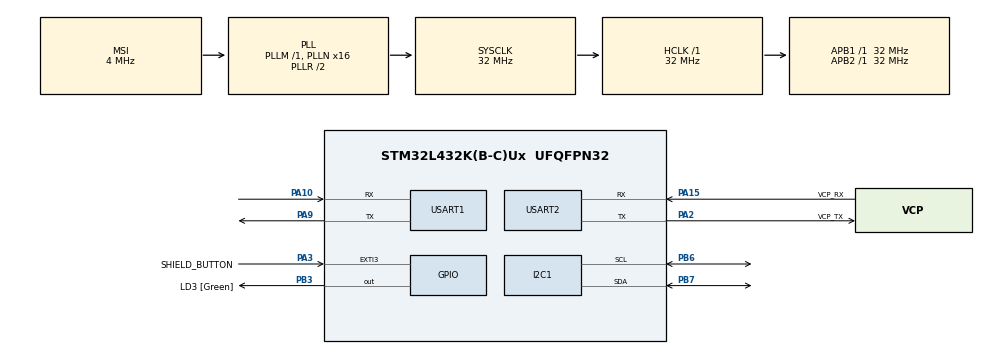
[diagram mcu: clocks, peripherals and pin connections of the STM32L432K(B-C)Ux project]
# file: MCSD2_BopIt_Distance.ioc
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Dma.Request0=USART1_RX
Dma.USART1_RX.0.Direction=DMA_PERIPH_TO_MEMORY
Dma.USART1_RX.0.Instance=DMA1_Channel5
Dma.USART1_RX.0.MemDataAlignment=DMA_MDATAALIGN_BYTE
Dma.USART1_RX.0.MemInc=DMA_MINC_ENABLE
Dma.USART1_RX.0.Mode=DMA_CIRCULAR
Dma.USART1_RX.0.PeriphDataAlignment=DMA_PDATAALIGN_BYTE
Dma.USART1_RX.0.PeriphInc=DMA_PINC_DISABLE
Dma.USART1_RX.0.Priority=DMA_PRIORITY_LOW
FREERTOS.Events01=measureEvent,Dynamic,NULL
FREERTOS.Tasks01=defaultTask,24,1024,StartDefaultTask,Default,NULL,Dynamic,NULL,NULL
FREERTOS.configTOTAL_HEAP_SIZE=5000
FREERTOS.configUSE_NEWLIB_REENTRANT=1
I2C1.Timing=0x00707CBB
Mcu.Family=STM32L4
Mcu.Name=STM32L432K(B-C)Ux
Mcu.Package=UFQFPN32
NVIC.DMA1_Channel5_IRQn=true\:5\:0\:false\:false\:true\:true\:false\:true
NVIC.EXTI3_IRQn=true\:5\:0\:false\:false\:true\:true\:true\:true
NVIC.PriorityGroup=NVIC_PRIORITYGROUP_4
NVIC.TIM6_DAC_IRQn=true\:5\:0\:false\:false\:true\:true\:true\:true
NVIC.TIM7_IRQn=true\:15\:0\:false\:false\:true\:false\:false\:true
NVIC.TimeBase=TIM7_IRQn
NVIC.TimeBaseIP=TIM7
PA0.GPIO_Label=MCO [High speed clock in]
PA0.Mode=HSE-External-Clock-Source-for-LittleOrca
PA0.Signal=RCC_CK_IN
PA10.Mode=Asynchronous
PA10.Signal=USART1_RX
PA13\ (JTMS-SWDIO).GPIO_Label=SWDIO
PA13\ (JTMS-SWDIO).Mode=Serial_Wire
PA13\ (JTMS-SWDIO).Signal=SYS_JTMS-SWDIO
PA14\ (JTCK-SWCLK).GPIO_Label=SWCLK
PA14\ (JTCK-SWCLK).Mode=Serial_Wire
PA14\ (JTCK-SWCLK).Signal=SYS_JTCK-SWCLK
PA15\ (JTDI).GPIO_Label=VCP_RX
PA15\ (JTDI).Mode=Asynchronous
PA15\ (JTDI).Signal=USART2_RX
PA2.GPIO_Label=VCP_TX
PA2.Mode=Asynchronous
PA2.Signal=USART2_TX
PA3.GPIO_Label=SHIELD_BUTTON
PA3.Signal=GPXTI3
PA9.Mode=Asynchronous
PA9.Signal=USART1_TX
PB3\ (JTDO-TRACESWO).GPIO_Label=LD3 [Green]
PB3\ (JTDO-TRACESWO).Signal=GPIO_Output
PB6.Mode=I2C
PB6.Signal=I2C1_SCL
PB7.Mode=I2C
PB7.Signal=I2C1_SDA
PC14-OSC32_IN\ (PC14).Mode=LSE-External-Oscillator
PC14-OSC32_IN\ (PC14).Signal=RCC_OSC32_IN
PC15-OSC32_OUT\ (PC15).Mode=LSE-External-Oscillator
PC15-OSC32_OUT\ (PC15).Signal=RCC_OSC32_OUT
ProjectManager.HeapSize=0x200
ProjectManager.StackSize=0x400
ProjectManager.TargetToolchain=STM32CubeIDE
RCC.AHBFreq_Value=32000000
RCC.APB1Freq_Value=32000000
RCC.APB1TimFreq_Value=32000000
RCC.APB2Freq_Value=32000000
RCC.APB2TimFreq_Value=32000000
RCC.CortexFreq_Value=32000000
RCC.HCLKFreq_Value=32000000
RCC.HSE_VALUE=8000000
RCC.HSI16_VALUE=16000000
RCC.HSI48_VALUE=48000000
RCC.HSI_VALUE=16000000
RCC.MSI_VALUE=4000000
RCC.PLLMUL=RCC_PLLMUL_4
RCC.PLLN=16
RCC.SYSCLKFreq_VALUE=32000000
RCC.SYSCLKSource=RCC_SYSCLKSOURCE_PLLCLK
RCC.VCOOutputFreq_Value=64000000
TIM6.Period=999
TIM6.Prescaler=32000
USART1.VirtualMode-Asynchronous=VM_ASYNC
USART2.VirtualMode-Asynchronous=VM_ASYNC
VP_FREERTOS_VS_CMSIS_V2.Mode=CMSIS_V2
VP_SYS_VS_tim7.Mode=TIM7
VP_TIM6_VS_ClockSourceINT.Mode=Enable_Timer
board=NUCLEO-L432KC

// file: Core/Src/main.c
/* USER CODE BEGIN Header */
/**
  ******************************************************************************
  * @file           : main.c
  * @brief          : Main program body
  ******************************************************************************
  * @attention
  *
  * Copyright (c) 2022 STMicroelectronics.
  * All rights reserved.
  *
  * This software is licensed under terms that can be found in the LICENSE file
  * in the root directory of this software component.
  * If no LICENSE file comes with this software, it is provided AS-IS.
  *
  ******************************************************************************
  */
/* USER CODE END Header */
#include "main.h"
#include "cmsis_os.h"

/* USER CODE BEGIN Includes */
#include <stdio.h>
#include <string.h>
#include <errno.h>
#include <float.h>
#include "Si1153.h"
#include "wifible.h"
/* USER CODE END Includes */

/* USER CODE BEGIN PD */
#define measure_event_flag 1
#define STDIN_FILENO  0
#define STDOUT_FILENO 1
#define STDERR_FILENO 2
/* USER CODE END PD */

I2C_HandleTypeDef hi2c1;

TIM_HandleTypeDef htim6;

UART_HandleTypeDef huart1;
UART_HandleTypeDef huart2;
DMA_HandleTypeDef hdma_usart1_rx;

/* Definitions for defaultTask */
osThreadId_t defaultTaskHandle;
const osThreadAttr_t defaultTask_attributes = {
  .name = "defaultTask",
  .stack_size = 1024 * 4,
  .priority = (osPriority_t) osPriorityNormal,
};
/* Definitions for measureEvent */
osEventFlagsId_t measureEventHandle;
const osEventFlagsAttr_t measureEvent_attributes = {
  .name = "measureEvent"
};
/* USER CODE BEGIN PV */
#define Si1153_ADC_LUT_len 17
static const float Si1153_ADC_LUT[Si1153_ADC_LUT_len] = {
										0.0,
										54.2,
										178.0,
										220.0,
										267.2,
										284.2,
										322.2,
										345.4,
										370.0,
										390.4,
										404.0,
										413.6,
										435.2,
										440.2,
										457.6,
										464.4,
										494.8
										};

/**
 * @brief Used in conjunction with TIM6 to debounce the button after an interrupt
 */
uint8_t button_ready = 1;

/* USER CODE END PV */

void SystemClock_Config(void);
static void MX_GPIO_Init(void);
static void MX_USART2_UART_Init(void);
static void MX_I2C1_Init(void);
static void MX_USART1_UART_Init(void);
static void MX_DMA_Init(void);
static void MX_TIM6_Init(void);
void StartDefaultTask(void *argument);
int _write(int file, char *ptr, int len);

/* USER CODE BEGIN PFP */
uint8_t Si1153_ADC_to_cm(uint16_t ADC_value);
/* USER CODE END PFP */

int main(void)
{

  /* MCU Configuration--------------------------------------------------------*/

  /* Reset of all peripherals, Initializes the Flash interface and the Systick. */
  HAL_Init();

  /* Configure the system clock */
  SystemClock_Config();

  /* Initialize all configured peripherals */
  MX_GPIO_Init();
  MX_USART2_UART_Init();
  MX_I2C1_Init();
  MX_DMA_Init();
  MX_USART1_UART_Init();
  MX_TIM6_Init();

  /* Init scheduler */
  osKernelInitialize();

  /* Create the thread(s) */
  /* creation of defaultTask */
  defaultTaskHandle = osThreadNew(StartDefaultTask, NULL, &defaultTask_attributes);

  /* Create the event(s) */
  /* creation of measureEvent */
  measureEventHandle = osEventFlagsNew(&measureEvent_attributes);

  /* Start scheduler */
  osKernelStart();

  /* We should never get here as control is now taken by the scheduler */
  /* Infinite loop */
  while (1)
  {

  }
}

void SystemClock_Config(void)
{
  RCC_OscInitTypeDef RCC_OscInitStruct = {0};
  RCC_ClkInitTypeDef RCC_ClkInitStruct = {0};

  /** Configure the main internal regulator output voltage
  */
  if (HAL_PWREx_ControlVoltageScaling(PWR_REGULATOR_VOLTAGE_SCALE1) != HAL_OK)
  {
    Error_Handler();
  }
  /** Configure LSE Drive Capability
  */
  HAL_PWR_EnableBkUpAccess();
  __HAL_RCC_LSEDRIVE_CONFIG(RCC_LSEDRIVE_LOW);
  /** Initializes the RCC Oscillators according to the specified parameters
  * in the RCC_OscInitTypeDef structure.
  */
  RCC_OscInitStruct.OscillatorType = RCC_OSCILLATORTYPE_LSE|RCC_OSCILLATORTYPE_MSI;
  RCC_OscInitStruct.LSEState = RCC_LSE_ON;
  RCC_OscInitStruct.MSIState = RCC_MSI_ON;
  RCC_OscInitStruct.MSICalibrationValue = 0;
  RCC_OscInitStruct.MSIClockRange = RCC_MSIRANGE_6;
  RCC_OscInitStruct.PLL.PLLState = RCC_PLL_ON;
  RCC_OscInitStruct.PLL.PLLSource = RCC_PLLSOURCE_MSI;
  RCC_OscInitStruct.PLL.PLLM = 1;
  RCC_OscInitStruct.PLL.PLLN = 16;
  RCC_OscInitStruct.PLL.PLLP = RCC_PLLP_DIV7;
  RCC_OscInitStruct.PLL.PLLQ = RCC_PLLQ_DIV2;
  RCC_OscInitStruct.PLL.PLLR = RCC_PLLR_DIV2;
  if (HAL_RCC_OscConfig(&RCC_OscInitStruct) != HAL_OK)
  {
    Error_Handler();
  }
  /** Initializes the CPU, AHB and APB buses clocks
  */
  RCC_ClkInitStruct.ClockType = RCC_CLOCKTYPE_HCLK|RCC_CLOCKTYPE_SYSCLK
                              |RCC_CLOCKTYPE_PCLK1|RCC_CLOCKTYPE_PCLK2;
  RCC_ClkInitStruct.SYSCLKSource = RCC_SYSCLKSOURCE_PLLCLK;
  RCC_ClkInitStruct.AHBCLKDivider = RCC_SYSCLK_DIV1;
  RCC_ClkInitStruct.APB1CLKDivider = RCC_HCLK_DIV1;
  RCC_ClkInitStruct.APB2CLKDivider = RCC_HCLK_DIV1;

  if (HAL_RCC_ClockConfig(&RCC_ClkInitStruct, FLASH_LATENCY_1) != HAL_OK)
  {
    Error_Handler();
  }
  /** Enable MSI Auto calibration
  */
  HAL_RCCEx_EnableMSIPLLMode();
}

static void MX_I2C1_Init(void)
{

  hi2c1.Instance = I2C1;
  hi2c1.Init.Timing = 0x00707CBB;
  hi2c1.Init.OwnAddress1 = 0;
  hi2c1.Init.AddressingMode = I2C_ADDRESSINGMODE_7BIT;
  hi2c1.Init.DualAddressMode = I2C_DUALADDRESS_DISABLE;
  hi2c1.Init.OwnAddress2 = 0;
  hi2c1.Init.OwnAddress2Masks = I2C_OA2_NOMASK;
  hi2c1.Init.GeneralCallMode = I2C_GENERALCALL_DISABLE;
  hi2c1.Init.NoStretchMode = I2C_NOSTRETCH_DISABLE;
  if (HAL_I2C_Init(&hi2c1) != HAL_OK)
  {
    Error_Handler();
  }
  /** Configure Analogue filter
  */
  if (HAL_I2CEx_ConfigAnalogFilter(&hi2c1, I2C_ANALOGFILTER_ENABLE) != HAL_OK)
  {
    Error_Handler();
  }
  /** Configure Digital filter
  */
  if (HAL_I2CEx_ConfigDigitalFilter(&hi2c1, 0) != HAL_OK)
  {
    Error_Handler();
  }

}

static void MX_TIM6_Init(void)
{

  TIM_MasterConfigTypeDef sMasterConfig = {0};

  htim6.Instance = TIM6;
  htim6.Init.Prescaler = 32000;
  htim6.Init.CounterMode = TIM_COUNTERMODE_UP;
  htim6.Init.Period = 999;
  htim6.Init.AutoReloadPreload = TIM_AUTORELOAD_PRELOAD_DISABLE;
  if (HAL_TIM_Base_Init(&htim6) != HAL_OK)
  {
    Error_Handler();
  }
  sMasterConfig.MasterOutputTrigger = TIM_TRGO_RESET;
  sMasterConfig.MasterSlaveMode = TIM_MASTERSLAVEMODE_DISABLE;
  if (HAL_TIMEx_MasterConfigSynchronization(&htim6, &sMasterConfig) != HAL_OK)
  {
    Error_Handler();
  }

}

static void MX_USART1_UART_Init(void)
{

  huart1.Instance = USART1;
  huart1.Init.BaudRate = 115200;
  huart1.Init.WordLength = UART_WORDLENGTH_8B;
  huart1.Init.StopBits = UART_STOPBITS_1;
  huart1.Init.Parity = UART_PARITY_NONE;
  huart1.Init.Mode = UART_MODE_TX_RX;
  huart1.Init.HwFlowCtl = UART_HWCONTROL_NONE;
  huart1.Init.OverSampling = UART_OVERSAMPLING_16;
  huart1.Init.OneBitSampling = UART_ONE_BIT_SAMPLE_DISABLE;
  huart1.AdvancedInit.AdvFeatureInit = UART_ADVFEATURE_NO_INIT;
  if (HAL_UART_Init(&huart1) != HAL_OK)
  {
    Error_Handler();
  }

}

static void MX_USART2_UART_Init(void)
{

  huart2.Instance = USART2;
  huart2.Init.BaudRate = 115200;
  huart2.Init.WordLength = UART_WORDLENGTH_8B;
  huart2.Init.StopBits = UART_STOPBITS_1;
  huart2.Init.Parity = UART_PARITY_NONE;
  huart2.Init.Mode = UART_MODE_TX_RX;
  huart2.Init.HwFlowCtl = UART_HWCONTROL_NONE;
  huart2.Init.OverSampling = UART_OVERSAMPLING_16;
  huart2.Init.OneBitSampling = UART_ONE_BIT_SAMPLE_DISABLE;
  huart2.AdvancedInit.AdvFeatureInit = UART_ADVFEATURE_NO_INIT;
  if (HAL_UART_Init(&huart2) != HAL_OK)
  {
    Error_Handler();
  }

}

static void MX_DMA_Init(void)
{

  /* DMA controller clock enable */
  __HAL_RCC_DMA1_CLK_ENABLE();

  /* DMA interrupt init */
  /* DMA1_Channel5_IRQn interrupt configuration */
  HAL_NVIC_SetPriority(DMA1_Channel5_IRQn, 5, 0);
  HAL_NVIC_EnableIRQ(DMA1_Channel5_IRQn);

}

static void MX_GPIO_Init(void)
{
  GPIO_InitTypeDef GPIO_InitStruct = {0};

  /* GPIO Ports Clock Enable */
  __HAL_RCC_GPIOC_CLK_ENABLE();
  __HAL_RCC_GPIOA_CLK_ENABLE();
  __HAL_RCC_GPIOB_CLK_ENABLE();

  /*Configure GPIO pin Output Level */
  HAL_GPIO_WritePin(LD3_GPIO_Port, LD3_Pin, GPIO_PIN_RESET);

  /*Configure GPIO pin : SHIELD_BUTTON_Pin */
  GPIO_InitStruct.Pin = SHIELD_BUTTON_Pin;
  GPIO_InitStruct.Mode = GPIO_MODE_IT_RISING;
  GPIO_InitStruct.Pull = GPIO_NOPULL;
  HAL_GPIO_Init(SHIELD_BUTTON_GPIO_Port, &GPIO_InitStruct);

  /*Configure GPIO pin : LD3_Pin */
  GPIO_InitStruct.Pin = LD3_Pin;
  GPIO_InitStruct.Mode = GPIO_MODE_OUTPUT_PP;
  GPIO_InitStruct.Pull = GPIO_NOPULL;
  GPIO_InitStruct.Speed = GPIO_SPEED_FREQ_LOW;
  HAL_GPIO_Init(LD3_GPIO_Port, &GPIO_InitStruct);

  /* EXTI interrupt init*/
  HAL_NVIC_SetPriority(EXTI3_IRQn, 5, 0);
  HAL_NVIC_EnableIRQ(EXTI3_IRQn);

}

/* USER CODE BEGIN 4 */
uint8_t Si1153_ADC_to_cm(uint16_t ADC_value) {
	if (ADC_value > 500)
	{
		return 20;
	}

	float ADC_flt = (float) ADC_value;
	float smallest_diff = FLT_MAX;
	int smallest_diff_i = 0;

	for (int i = 0; i < Si1153_ADC_LUT_len; i++)
	{
		float current_diff = ADC_flt - Si1153_ADC_LUT[i];

		current_diff = (current_diff < 0) ? -current_diff : current_diff;

		if (current_diff < smallest_diff)
		{
			smallest_diff = current_diff;
			smallest_diff_i = i;
		}
	}

	return smallest_diff_i;
}

void HAL_GPIO_EXTI_Callback(uint16_t GPIO_Pin)
{
  /* Prevent unused argument(s) compilation warning */
  UNUSED(GPIO_Pin);
  if (button_ready)
  {

	  HAL_UART_Transmit(&huart2, (uint8_t *) "Interrupt!\r\n", strlen("Interrupt!\r\n"), 500);
	  osEventFlagsSet(measureEventHandle, measure_event_flag);

	  button_ready = 0;

	  /* Disable the button until debounced, as reported by TIM6 */
	  HAL_TIM_Base_Start_IT(&htim6);
  }

}

/**
 * @brief Function that writes the char pointer to the UART Interface.
 * @param ptr: char pointer to the String
 * @param len: length of the String
 * @retval EIO: returns IO Error
 * @retval len: returns the length of the String and means no error
 * @return returns the length of the string or in case of erros -1 or IO Error
 */
int _write(int file, char *ptr, int len) {
	if (file == STDOUT_FILENO || file == STDERR_FILENO) {
		//Write String over UART to Terminal
		if (HAL_UART_Transmit(&huart2, (uint8_t*) ptr, len, HAL_MAX_DELAY)
				== HAL_OK) {
			return len;
		} else {
			//return IO Error
			return EIO;
		}
	}
	//Return File Descriptor Error
	errno = EBADF;
	return -1;
}

/**
 * @brief Wrapper funtion to load the desired settings into the Si1153.
 *
 * @retval Returns HAL_OK if every initialisation step was successful. HAL_ERROR otherwise.
 */
HAL_StatusTypeDef initialize_sensor() {
	uint16_t error_counter = 0;

	if (Si1153_set_param(&hi2c1, SI1153_CHAN_LIST_PARAM_ADDR, SI1153_CHAN_LIST_DEFAULT) != HAL_OK)
	{
		HAL_UART_Transmit(&huart2, (uint8_t *) "Error setting channel list\r\n", strlen("Error setting channel list\r\n"), 1000);
		error_counter++;
	}
	else
	{
		HAL_UART_Transmit(&huart2, (uint8_t *) "Channel list set\r\n", strlen("Channel list set\r\n"), 1000);
	}

	if (Si1153_set_param(&hi2c1, SI1153_MEASRATE_L_PARAM_ADDR, SI1153_MEASRATE_L_DEFAULT) != HAL_OK)
	{
		HAL_UART_Transmit(&huart2, (uint8_t *) "Error setting measure rate l\r\n", strlen("Error setting measure rate l\r\n"), 1000);
		error_counter++;
	}
	else
	{
		HAL_UART_Transmit(&huart2, (uint8_t *) "Measure rate l set\r\n", strlen("Measure rate l set\r\n"), 1000);
	}

	if (Si1153_set_param(&hi2c1, SI1153_MEASCOUNT0_PARAM_ADDR, SI1153_MEASCOUNT0_DEFAULT) != HAL_OK)
	{
		HAL_UART_Transmit(&huart2, (uint8_t *) "Error setting measure count\r\n", strlen("Error setting measure count\r\n"), 1000);
		error_counter++;
	}
	else
	{
		HAL_UART_Transmit(&huart2, (uint8_t *) "Measure count set\r\n", strlen("Measure count set\r\n"), 1000);
	}

	if (Si1153_set_param(&hi2c1, SI1153_ADCCONFIG0_PARAM_ADDR, SI1153_ADCCONFIG_DEFAULT) != HAL_OK)
	{
		HAL_UART_Transmit(&huart2, (uint8_t *) "Error setting channel 0 ADC config\r\n", strlen("Error setting channel 0 ADC config\r\n"), 1000);
		error_counter++;
	}
	else
	{
		HAL_UART_Transmit(&huart2, (uint8_t *) "Channel 0 ADC config set\r\n", strlen("Channel 0 ADC config set\r\n"), 1000);
	}

	if (Si1153_set_param(&hi2c1, SI1153_ADCSENS0_PARAM_ADDR, SI1153_ADCSENS_DEFAULT) != HAL_OK)
	{
		HAL_UART_Transmit(&huart2, (uint8_t *) "Error setting channel 0 ADC sens\r\n", strlen("Error setting channel 0 ADC sens\r\n"), 1000);
		error_counter++;
	}
	else
	{
		HAL_UART_Transmit(&huart2, (uint8_t *) "Channel 0 ADC sens set\r\n", strlen("Channel 0 ADC sens set\r\n"), 1000);
	}

	if (Si1153_set_param(&hi2c1, SI1153_ADCPOST0_PARAM_ADDR, SI1153_ADCPOST_DEFAULT) != HAL_OK)
	{
		HAL_UART_Transmit(&huart2, (uint8_t *) "Error setting channel 0 ADC post\r\n", strlen("Error setting channel 0 ADC post\r\n"), 1000);
		error_counter++;
	}
	else
	{
		HAL_UART_Transmit(&huart2, (uint8_t *) "Channel 0 ADC post set\r\n", strlen("Channel 0 ADC post set\r\n"), 1000);
	}

	if (Si1153_set_param(&hi2c1, SI1153_MEASCONFIG0_PARAM_ADDR, SI1153_MEASCONFIG_DEFAULT) != HAL_OK)
	{
		HAL_UART_Transmit(&huart2, (uint8_t *) "Error setting channel 0 measurement config\r\n", strlen("Error setting channel 0 measurement config\r\n"), 1000);
		error_counter++;
	}
	else
	{
		HAL_UART_Transmit(&huart2, (uint8_t *) "Channel 0 measurement config set\r\n", strlen("Channel 0 measurement config set\r\n"), 1000);
	}

	if (Si1153_start_autonomous_mode(&hi2c1) != HAL_OK)
	{
		HAL_UART_Transmit(&huart2, (uint8_t *) "Error: could not initiate autonomous measurements\r\n", strlen("Error: could not initiate autonomous measurements\r\n"), 1000);
		error_counter++;
	}
	else
	{
		HAL_UART_Transmit(&huart2, (uint8_t *) "Autonomous measurements initiated\r\n", strlen("Autonomous measurements initiated\r\n"), 1000);
	}

	return error_counter ? HAL_ERROR : HAL_OK;
}

/* USER CODE END 4 */

void StartDefaultTask(void *argument)
{
  /* USER CODE BEGIN 5 */
	uint8_t msg[50];

	wifible_init(&huart1);
	connectWifi("Florian Handy", "florianparzer");

	while(1)
	{
		if (initialize_sensor() == HAL_OK)
		{
			break;
		}
		osDelay(3000);
	}

	/* Infinite loop */

	for(;;) {

		osEventFlagsWait(measureEventHandle, measure_event_flag, 0, osWaitForever);

		uint16_t chan_0 = 0;

		if (Si1153_read_channel_0_16bit(&hi2c1, &chan_0) != HAL_OK)
		{
			HAL_UART_Transmit(&huart2, (uint8_t *) "Error reading channel 0\r\n", strlen("Error reading channel 0\r\n"), 1000);
		}
		else
		{
			/* Interfacing with the WiFi module goes here */
			int cm = Si1153_ADC_to_cm(chan_0);
			int message = 0;

			if (cm <= 7) {
				message = DIST_LESS_THAN_5;
			} else if ((cm > 7) && (cm <=13)) {
				message = DIST_10;
			} else if (cm > 13) {
				message = DIST_MORE_THAN_15;
			}

			sendHttpPost("192.168.43.198", "/api/challenges", 1, message);
			sprintf((char *) msg, "%05d - % 2d cm\r\n", chan_0, cm);
			HAL_UART_Transmit(&huart2, msg, strlen((char *) msg), 1000);
		}

	}
  /* USER CODE END 5 */
}

void HAL_TIM_PeriodElapsedCallback(TIM_HandleTypeDef *htim)
{
  if (htim->Instance == TIM7) {
    HAL_IncTick();
  }
  /* USER CODE BEGIN Callback 1 */
  else if (htim->Instance == TIM6)
  {
	  /* TIM6 is the debounce timer */
	  button_ready = 1;
	  HAL_TIM_Base_Stop_IT(&htim6);
  }
  /* USER CODE END Callback 1 */
}

void Error_Handler(void)
{
  __disable_irq();
  while (1)
  {
  }
}
